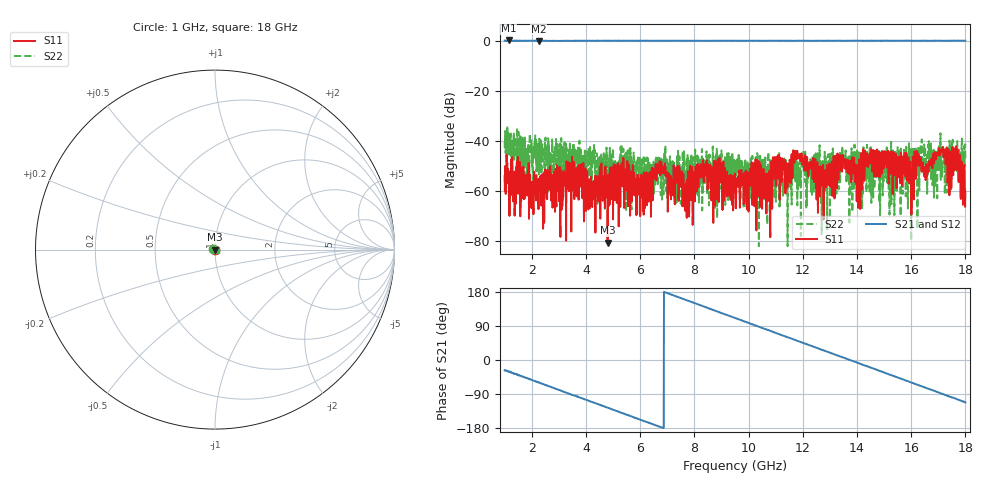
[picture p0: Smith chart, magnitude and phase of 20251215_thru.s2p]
#  HZ  S  DB  R  50.00
! Rohde & Schwarz ZVA40 4Ports - Version 4.11 - 1145.1110k42 SN: 100337
! Date: 2025-12-16 12:52:05
! Measurements: S11 S41 S14 S44
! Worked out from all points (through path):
!   1701 points, 1 GHz to 18 GHz, reference 50 ohm
!   highest |S21| = 0.17 dB at 1.15 GHz (marker M1); lowest = -0.1 dB at 2.26 GHz (marker M2)
!   group delay of S21, straight-line fit = 72.7 ps
!   lowest |S11| = -80.8 dB at 4.8 GHz (marker M3), VSWR 1.00, Z = 50 - j0.00526 ohm
!   |S11| at or under -10 dB: start of sweep to end of sweep
!   |S22| runs from -82.2 to -34.0 dB; largest |S21 - S12| = 0.024
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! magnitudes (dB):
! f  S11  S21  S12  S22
! 1 GHz  -54.1  0.1  0.0  -40.6
! 1.15 GHz  -52.1  0.2  0.0  -44.8
! 2.26 GHz  -55.4  -0.1  0.0  -53.5
! 3.84 GHz  -49.4  0.1  0.0  -52.0
! 4.8 GHz  -80.8  0.0  0.0  -58.1
! 5.3 GHz  -51.3  0.0  0.0  -46.0
! 6.18 GHz  -66.9  0.1  0.0  -52.6
! 6.67 GHz  -52.7  0.0  0.0  -47.1
! 7.64 GHz  -64.0  0.0  0.0  -53.3
! 8.39 GHz  -49.9  0.0  0.0  -54.6
! 9.5 GHz  -53.1  0.1  0.0  -52.2
! 10.72 GHz  -60.0  0.0  0.0  -49.1
! 11.73 GHz  -44.1  0.0  0.0  -46.5
! 12.34 GHz  -49.6  0.0  0.0  -62.4
! 12.57 GHz  -59.7  0.1  0.0  -59.7
! 13.48 GHz  -45.8  0.0  0.0  -46.1
! 14.05 GHz  -66.9  0.1  0.0  -44.7
! 14.29 GHz  -43.9  0.0  0.0  -44.4
! 15.17 GHz  -57.1  0.1  0.0  -60.1
! 16.02 GHz  -53.4  0.0  0.0  -47.3
! 17.1 GHz  -44.1  0.0  0.0  -46.3
! 18 GHz  -60.4  0.1  0.0  -47.8
